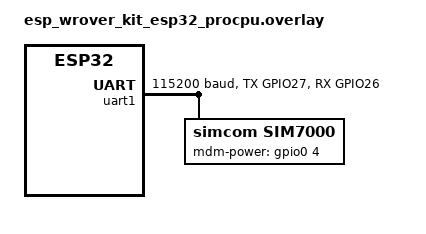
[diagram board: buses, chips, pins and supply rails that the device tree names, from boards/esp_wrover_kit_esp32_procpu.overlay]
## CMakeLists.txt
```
# Tracker sample made by
# Iván Hernández

cmake_minimum_required(VERSION 3.20.0)

find_package(Zephyr REQUIRED HINTS $ENV{ZEPHYR_BASE})
project(tracker)

target_sources(app PRIVATE 
                src/main.c
                sim_app/gps/gps.c
                sim_app/modem/sim_modem.c
                coap_app/coap.c
                ble_app/gatt_services/cts.c
                ble_app/gatt_services/ln.c
            )

include(${ZEPHYR_BASE}/samples/net/common/common.cmake)

# Add public include dir
target_include_directories(app PUBLIC 
                            include
                            ble_app/gatt_services
                            )

# Add private include dir
target_include_directories(app PRIVATE
  ${CMAKE_CURRENT_SOURCE_DIR}/components/
)
```

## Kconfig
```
# Copyright (c) 2025 Netfeasa
# SPDX-License-Identifier: Apache-2.0

menu "Tracker"

source "$(APPLICATION_SOURCE_DIR)/components/ble_stack/Kconfig"

endmenu
```

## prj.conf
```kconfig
# ============================================================================
# System Configuration
# ============================================================================
CONFIG_HEAP_MEM_POOL_SIZE=4096
CONFIG_MAIN_STACK_SIZE=4096
CONFIG_SYSTEM_WORKQUEUE_STACK_SIZE=4096

# ============================================================================
# Power Management (Optional)
# ============================================================================
# CONFIG_PM_DEVICE=y

# ============================================================================
# UART Configuration
# ============================================================================
CONFIG_UART_INTERRUPT_DRIVEN=y
# CONFIG_MODEM_BACKEND_UART_ASYNC_HWFC=y

# ============================================================================
# Networking Stack
# ============================================================================
CONFIG_NETWORKING=y
CONFIG_NET_UDP=y
CONFIG_NET_TCP=y
CONFIG_NET_IPV6=n
CONFIG_NET_IPV4=y
CONFIG_NET_SOCKETS=y
# DNS
CONFIG_DNS_RESOLVER=y
CONFIG_NET_SOCKETS_DNS_TIMEOUT=12000

# Network management
CONFIG_NET_MGMT=y
CONFIG_NET_MGMT_EVENT=y
# NB-IoT has large latency, so increase timeouts. It is ok to use this for Cat-M1 as well.
CONFIG_NET_SOCKETS_CONNECT_TIMEOUT=15000
CONFIG_NET_CONNECTION_MANAGER=y
# Network buffers
CONFIG_NET_PKT_RX_COUNT=32
CONFIG_NET_PKT_TX_COUNT=16
CONFIG_NET_BUF_RX_COUNT=64
CONFIG_NET_BUF_TX_COUNT=64
CONFIG_BT_BUF_ACL_TX_SIZE=100
CONFIG_BT_BUF_ACL_RX_SIZE=100
CONFIG_BT_L2CAP_TX_MTU=100

# ============================================================================
# Modem Driver - SimCOM
# ============================================================================
CONFIG_MODEM=y
#SimCOM modem
CONFIG_MODEM_SIM7000=y
# Statistics
CONFIG_MODEM_MODULES=y
CONFIG_NET_L2_PPP=y
CONFIG_MODEM_PPP=y
CONFIG_MODEM_STATS=y

CONFIG_MODEM_SIMCOM_SIM7000_BAUDRATE=115200

# ============================================================================
# Shell and Debug Tools
# ============================================================================
CONFIG_SHELL=y
CONFIG_MODEM_SHELL=y

# ============================================================================
# GNSS Support
# ============================================================================
CONFIG_GNSS=y
CONFIG_GNSS_SATELLITES=y
# ===========================================================================


# ============================================================================
# Logging
# ============================================================================
CONFIG_LOG=y
#CONFIG_MODEM_LOG_LEVEL_DBG=y
CONFIG_NET_LOG=y

CONFIG_MODEM_SIMCOM_SIM7000_RAT_M1=y
CONFIG_MODEM_SIMCOM_SIM7000_LTE_BANDS="4,8,20,28"
CONFIG_MODEM_SIMCOM_SIM7000_APN="hologram"
CONFIG_MODEM_SIM7000_RSSI_PERIODIC_POLLING=n

# ============================================================================
# COAP
# ============================================================================
CONFIG_COAP=y



# ============================================================================
# GPIO
# ============================================================================
CONFIG_GPIO=y


# ============================================================================
# BLE
# ============================================================================
CONFIG_BT=y
CONFIG_BT_PERIPHERAL=y
CONFIG_BT_DEVICE_NAME="Tracker"
CONFIG_BT_DEVICE_APPEARANCE=833

# L2CAPCOC Dependencies
# CONFIG_BT_SMP=y
# CONFIG_BT_L2CAP_DYNAMIC_CHANNEL=y


# ============================================================================
# BLE manager
# ============================================================================
CONFIG_BLE_MGR=y
```

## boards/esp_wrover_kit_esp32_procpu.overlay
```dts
#include <zephyr/dt-bindings/pinctrl/esp-pinctrl-common.h>
#include <zephyr/dt-bindings/pinctrl/esp32-pinctrl.h>
#include <zephyr/dt-bindings/pinctrl/esp32-gpio-sigmap.h>

/ {
    chosen {
        zephyr,console = &uart0;
        zephyr,shell-uart = &uart0;
    };

    aliases {
        simuart = &uart1;
        modem = &sim7000;
    };
};

&pinctrl {
    uart1_sim_default: uart1_sim_default {
        group1 {
            pinmux = <UART1_TX_GPIO27>;
            output-enable;
        };
        group2 {
            pinmux = <UART1_RX_GPIO26>;
            bias-pull-up;
        };
    };
};

&uart1 {
    status = "okay";
    current-speed = <115200>;
    pinctrl-0 = <&uart1_sim_default>;
    pinctrl-names = "default";

    sim7000: modem {
        compatible = "simcom,sim7000";
        status = "okay";

        mdm-power-gpios = <&gpio0 4 GPIO_ACTIVE_HIGH>;

		

        /* Optional if wired */
        /* mdm-reset-gpios = <&gpio0 5 GPIO_ACTIVE_LOW>; */
        /* mdm-wake-gpios  = <&gpio0 6 GPIO_ACTIVE_HIGH>; */
        /* mdm-ring-gpios  = <&gpio0 7 GPIO_ACTIVE_LOW>; */
        /* mdm-dtr-gpios   = <&gpio0 8 GPIO_ACTIVE_HIGH>; */
    };
};
```

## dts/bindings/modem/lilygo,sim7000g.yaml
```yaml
description: LilyGO SIM7000G modem wiring

compatible: "lilygo,sim7000g"

properties:
  uart:
    type: phandle
    required: true
    description: UART used to communicate with the modem

  pwrkey-gpios:
    type: phandle-array
    required: true

  dtr-gpios:
    type: phandle-array
    required: false

  gps-enabled:
    type: boolean
    required: false

  gps-ant-pwr-pin:
    type: int
    required: false
```

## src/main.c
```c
#include <zephyr/kernel.h>
#include <zephyr/device.h>
#include <zephyr/logging/log.h>


#include <zephyr/net/socket.h>
#include <zephyr/net/net_offload.h>
#include <zephyr/net/socket_offload.h>

#include <zephyr/net/coap.h>
#include <zephyr/random/random.h>

#include <zephyr/drivers/cellular.h>
#include <zephyr/drivers/modem/simcom-sim7000.h>

#include "sim_app/gps/gps.h"
#include "sim_app/modem/sim_modem.h"
#include "coap_app/coap.h"
#include <ble_mgr/ble_stack/user_api.h>

// TODO: Move this header to app layer instead
#include "ln.h"

LOG_MODULE_REGISTER(main, LOG_LEVEL_INF);

/* -------------------------------------------------------------------------- */
/* Configuration                                                              */
/* -------------------------------------------------------------------------- */

#define TEST_SERVER_PORT     5683
#define TEST_SERVER_ENDPOINT "20.47.97.44"

#define COAP_RX_RESOURCE "validate"
#define COAP_TX_RESOURCE "validate"


#define MESSAGE_TO_SEND "Hi from Lilygo T SIM7000G device"


/* -------------------------------------------------------------------------- */
/* DNS Helper                                                                 */
/* -------------------------------------------------------------------------- */

/* TODO: move to connectivity helper module */
#if defined(CIPS_MODEM_SUBSYS_IMPLEMENTED)
static int resolve_broker_addr(struct sockaddr_in *broker)
{
    struct zsock_addrinfo hints = {
        .ai_family = AF_INET,
        .ai_socktype = SOCK_STREAM,
    };

    struct zsock_addrinfo *res;
    char port_str[6];

    snprintf(port_str, sizeof(port_str), "%d", TEST_SERVER_PORT);

    int ret = zsock_getaddrinfo(TEST_SERVER_ENDPOINT,
                                port_str,
                                &hints,
                                &res);

    if (ret) {
        LOG_ERR("DNS failed (%d)", ret);
        return ret;
    }

    memcpy(broker, res->ai_addr, sizeof(struct sockaddr_in));

    zsock_freeaddrinfo(res);

    return 0;
}
#endif

#define LOC_SPEED_FLAG_POSITION_STATUS_SHIFT 7
#define LOC_SPEED_FLAG_POSITION_OK           (0x01 << LOC_SPEED_FLAG_POSITION_STATUS_SHIFT)

/* Helpers */

// TODO: Move got_fix to dedicated context later
static bool got_fix = false;
static int64_t gnss_start_time = 0;
int gps_query_post_process(const void* data, size_t len)
{
    LOG_INF("Post processing GPS data with custom function, data length: %d", len);

    if (!data) {
        LOG_ERR("Invalid GPS data");
        return -EINVAL;
    }

    if (len != sizeof(struct sim7000_gnss_data)) {
        LOG_ERR("Invalid GPS data size, got %u, expected %u", len, sizeof(struct sim7000_gnss_data));
        return -EINVAL;
    }

    const struct sim7000_gnss_data *gnss = data;

    loc_and_speed_data_t loc = {0};
    pos_qual_t pos_qual_data = {0};

    /* Only populate fields if we have a valid fix */
    if (gnss->fix_status) {

        /* Fill location and speed data first */
        /* Position status = 01 (Position OK) */
        loc.flags = LOC_AND_SPEED_DATA_FLAGS_MASK;
        loc.flags |= LOC_SPEED_FLAG_POSITION_OK;

        /* Latitude / Longitude (already 10^-7 degrees) */
        loc.location_latitude  = gnss->lat;
        loc.location_longitude = gnss->lon;

        /* Altitude: convert mm -> 24-bit signed */
        int32_t alt_mm = gnss->alt;

        loc.elevation[0] = (alt_mm >> 0) & 0xFF;
        loc.elevation[1] = (alt_mm >> 8) & 0xFF;
        loc.elevation[2] = (alt_mm >> 16) & 0xFF;

        /* Heading: convert 10^-2 degree -> 1e-2 degree format already correct */
        loc.heading = gnss->cog;

        /* Speed: km/h * 10 -> convert to m/s * 100 */
        /* 1 km/h = 0.27778 m/s */
        uint32_t speed_ms_100 = (gnss->kmh * 1000) / 36;

        loc.instant_speed = (uint16_t)speed_ms_100;

        /* Fill position quality data */
        pos_qual_data.flags = POSITION_QUALITY_FLAGS_MASK;
        /* Same position as location and speed */
        pos_qual_data.flags |= LOC_SPEED_FLAG_POSITION_OK;

        pos_qual_data.hdop = gnss->hdop / 10;
        // Pos_qual does not have a PDOP field
        pos_qual_data.vdop = gnss->vdop / 10;

        pos_qual_data.beacon_num_sol  = gnss->sat_used;
        pos_qual_data.beacon_num_view = gnss->sat_in_view;

        pos_qual_data.ephe = gnss->hpa;
        pos_qual_data.evpe = gnss->vpa;
        
        /* Update if it's first fix */
        if (!got_fix)
        {
            int64_t now = k_uptime_get();
            pos_qual_data.time_to_first_fix = (uint16_t)((now - gnss_start_time) / 1000);
        }
        
        got_fix = true;
    }


    ble_gatt_server_notify(BT_UUID_GATT_LOC_SPD, &loc, sizeof(loc));
    ble_gatt_server_notify(BT_UUID_GATT_PQ, &pos_qual_data, sizeof(pos_qual_data));
    return 0;
}

#define GPS_POLLING_MS  1000
static void gnss_poll_loop(void)
{
    int err = 0;
    LOG_INF("Starting GPS polling loop!");
    while (1)
    {
        struct sim7000_gnss_data data;
        err = sim_gps_get_data(&data);
        if (err < 0) {
            LOG_ERR("Failed to get GPS data");
        }
        LOG_INF("GPS Data: Latitude: %d, Longitude: %d, Altitude: %d",
                data.lat, data.lon, data.alt);
        k_msleep(GPS_POLLING_MS);
    }
    
}

/* Samples */
static int coap_sample(void)
{
    mdm_sim7000_start_network();

    int err = 0;
    int sock = coap_app_connect_to_server(TEST_SERVER_ENDPOINT, TEST_SERVER_PORT);
    if (sock < 0) {
        LOG_ERR("Failed to connect to CoAP server");
        return sock;
    }

    /* Read resource */

    err = coap_app_send_get_request(sock, COAP_RX_RESOURCE);
    if (err < 0) {
        LOG_ERR("Failed to send CoAP request");
        return err;
    }

    char buffer[128];
    err = coap_app_receive_message(sock, buffer, sizeof(buffer));
    if (err < 0) {
        LOG_ERR("Failed to receive CoAP response");
        return err;
    }

    /* Send request */
    coap_app_send_put_request(sock, COAP_RX_RESOURCE, MESSAGE_TO_SEND, strlen(MESSAGE_TO_SEND));

    err = coap_app_receive_message(sock, buffer, sizeof(buffer));
    if (err < 0) {
        LOG_ERR("Failed to receive CoAP response");
        goto out;
    }

    err = coap_app_send_get_request(sock, COAP_RX_RESOURCE);
    if (err < 0) {
        LOG_ERR("Failed to send CoAP request");
        goto out;
    }

    err = coap_app_receive_message(sock, buffer, sizeof(buffer));
    if (err < 0) {
        LOG_ERR("Failed to receive CoAP response");
        goto out;
    }

out:
    /* Cleanup */
    err = coap_app_disconnect_from_server(sock);
    if (err < 0) {
        LOG_ERR("Failed to disconnect from CoAP server");
        return err;
    }

    return err;
}

static int gps_sample(void)
{
    sim_gps_postproc_set(gps_query_post_process);
    gnss_start_time = k_uptime_get();
    int err = sim_gps_start();
    if (err < 0) {
        LOG_ERR("Failed to initialize GPS");
        return err;
    } 

    gnss_poll_loop();
    return 0;
}

static int gps_sample_xtra(void)
{
    gnss_start_time = k_uptime_get();
    sim_gps_postproc_set(gps_query_post_process);

    int err = sim_gps_start_xtra();
    if (err < 0) {
        LOG_ERR("Failed to initialize GPS with XTRA");
        return err;
    }

    struct sim7000_gnss_data data;
    err = sim_gps_get_data(&data);
    if (err < 0) {
        LOG_ERR("Failed to get GPS data");
        return err;
    }

    LOG_INF("GPS Data: Latitude: %d, Longitude: %d, Altitude: %d",
            data.lat, data.lon, data.alt);

    return 0;
}

uint8_t pos_qual_read_cb(const void *data, uint16_t len){
    if (len > sizeof(pos_qual_t)) {
        LOG_WRN("Data length %u exceeds pos_qual_t size %u, data will be truncated", len, sizeof(pos_qual_t));
        len = sizeof(pos_qual_t);
    }
    pos_qual_t pos_qual_data = {0};
    memcpy(&pos_qual_data, data, len);


    // TODO: Temporal hack for updating internal value, remove when refactoring GPS data out of the ble wrapper.
    ble_gatt_server_notify(BT_UUID_GATT_PQ, &pos_qual_data, sizeof(pos_qual_data));
    LOG_INF("Position Quality Data read callback invoked with data:\nflags: %u\nbeacon_num_sol: %u\nbeacon_num_view: %u\ntime_to_first_fix: %u\nephe: %u\nevpe: %u\nhdop: %u\nvdop: %u",
                pos_qual_data.flags, pos_qual_data.beacon_num_sol, pos_qual_data.beacon_num_view, pos_qual_data.time_to_first_fix,
                pos_qual_data.ephe, pos_qual_data.evpe, pos_qual_data.hdop, pos_qual_data.vdop);

    return 0;
}


int ble_init(void)
{
    int err;
    /* Initialize BLE and advertise*/
    err = ble_gap_adv_start();
    if (err)
    {
        LOG_ERR("Failed to initialize BT (err: %d)", err);
        return -1;
    }

    ble_gatt_server_set_read_cb(BT_UUID_GATT_PQ, pos_qual_read_cb);
    return 0;
}


int main(void)
{
    int err = 0;

    if(sim_modem_check_ready() != 0)
    {
        LOG_ERR("Modem device not ready");
        return -1;
    }

    LOG_INF("Starting SIM7000 Zephyr sample");



    sim_modem_print_info();

    ble_init();

    gps_sample();

    // coap_sample();

    LOG_INF("Program completed successfully");

    return err;
}
```

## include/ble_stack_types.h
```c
#ifndef BLE_WRAPPER_TYPES_H
#define BLE_WRAPPER_TYPES_H
#include <stdint.h>
#include <zephyr/bluetooth/conn.h>
#include <zephyr/bluetooth/gatt.h>
#include <zephyr/bluetooth/uuid.h>

#define UNUSED(x) (void)(x)
#define MAX_DISCOVERED_CHARS 30
#define MAX_SUBSCRIBED_CHARS 10

typedef uint8_t (*bt_gatt_handler_t)(const void *, uint16_t);
typedef uint8_t (*gen_rx_notif_cb_func)(const struct bt_uuid_128 *, const void *, const uint16_t, const uint8_t);
typedef enum
{
  GATT_DB_SVC_CTS_CHAR_CURR_TIME,
  GATT_DB_SVC_LN_CHAR_FEAT,
  GATT_DB_SVC_LN_CHAR_GPS,
  GATT_DB_SVC_LN_CHAR_PQ,
  GATT_DB_MAX_ENTRIES,
} gatt_db_characteristics_t;

typedef enum
{
  OP_READ,
  OP_WRITE,
  OP_WRITE_WITHOUT_RESP,
  OP_NOTIFY,
} op_type_t;

typedef struct
{
  struct bt_uuid_128 uuid_128; /**< 128 bit form UUID of the service */
  uint16_t val_handle;
  uint8_t perm;
} discovered_chrc_t;

typedef struct
{
  void *fifo_reserved;         // For internal use by Zephyr's FIFO implementation
  struct bt_uuid_128 uuid_128; /**< UUID of the characteristic */
  void *data;                  /**< Pointer to the data buffer for the characteristic */
  uint16_t len;                /**< Length of the data buffer */
  uint8_t op;                  /* Operation type @ref op_type_t */
} bt_gen_client_char_req_t;

#if defined(CONFIG_BT_GATT_CLIENT)
typedef struct
{
  /** Connection object. */
  struct bt_conn *conn;
  /** Handles on the connected peer device that are needed
   * to interact with the device.
   */
  discovered_chrc_t discovered_chars[MAX_DISCOVERED_CHARS];
  /** GATT subscribe parameters for NUS TX Characteristic. */
  struct bt_gatt_subscribe_params tx_notif_params[MAX_SUBSCRIBED_CHARS];
  uint16_t discovered_count;
  uint16_t subscribed_count;
} bt_gen_client_t;
#endif // CONFIG_BT_GATT_CLIENT

#endif /* BLE_WRAPPER_TYPES_H */
```

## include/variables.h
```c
#ifndef VARIABLES_H
#define VARIABLES_H

#define MAX_CHARACTERISTIC_LENGTH 512        /* According to BLE specs */
#define CALIBRATION_DATA_BUFFER_SIZE 512 - 4 /* 512 bytes - 4 bytes for address */

#define BLE_DISCOVERY_MODE_CID 0
#define BLE_DISCOVERY_MODE_GEN 1

#define BLE_DISCOVERY_MODE BLE_DISCOVERY_MODE_CID

#endif /* VARIABLES_H */
```
